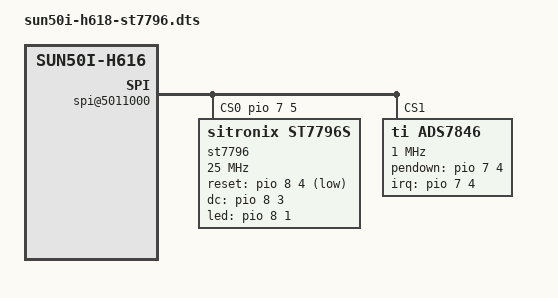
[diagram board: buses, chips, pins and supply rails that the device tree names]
/dts-v1/;
/plugin/;

/ {
    /*compatible = "allwinner,sun50i-h618";*/
    compatible = "allwinner,sun50i-h616"; /* h616? more info needed */

    fragment@0 {
        target-path = "/soc/spi@5011000";
        __overlay__ {
            num-cs = <2>;

                /* CS0 = PH5 CS1 = PH9 */
                cs-gpios = <&pio 7 5 0>,
                           /* <&pio 7 9 0>; - default??? */
            status = "okay";
            #address-cells = <1>;
            #size-cells = <0>;

            st7796: st7796s@0{
                compatible = "sitronix,st7796s";
                reg = <0>;
                spi-max-frequency = <25000000>;
                fps = <30>;
                buswidth = <8>;
                reset-gpios = <&pio 8 4 1>;  /* TFT RESET on PI4  */
                dc-gpios = <&pio 8 3 0>;     /* TFT D/C PI3 */
                rotate = <270>;
                debug = <1>;
                led-gpios = <&pio 8 1 0>;     /* TFT BACKLIGHT PI1 */
            };
        };
    };

    fragment@1 {
        target-path = "/soc/spi@5011000";
        __overlay__ {
            #address-cells = <1>;
            #size-cells = <0>;
            status = "okay";
            ads7846@0 {
                compatible = "ti,ads7846";
                reg = <1>;
                status = "okay";
                spi-max-frequency = <1000000>;
                interrupts = <7 4 2>; /* high-to-low edge triggered */
                    interrupt-parent = <&pio>;   /* PH4 */
                pendown-gpio = <&pio 7 4 0>;

                /* driver defaults, optional */

               ti,keep-vref-on = <1>;
               ti,x-min = /bits/ 16 <00>;
               ti,x-max = /bits/ 16 <0xFFF>;
               ti,y-min = /bits/ 16 <00>;
               ti,y-max = /bits/ 16 <0xFFF>;
               ti,x-plate-ohms = /bits/ 16 <60>;
               ti,pressure-max = /bits/ 16 <255>;
                ti,swap-xy = <0>;   };
        };
        };


    };
